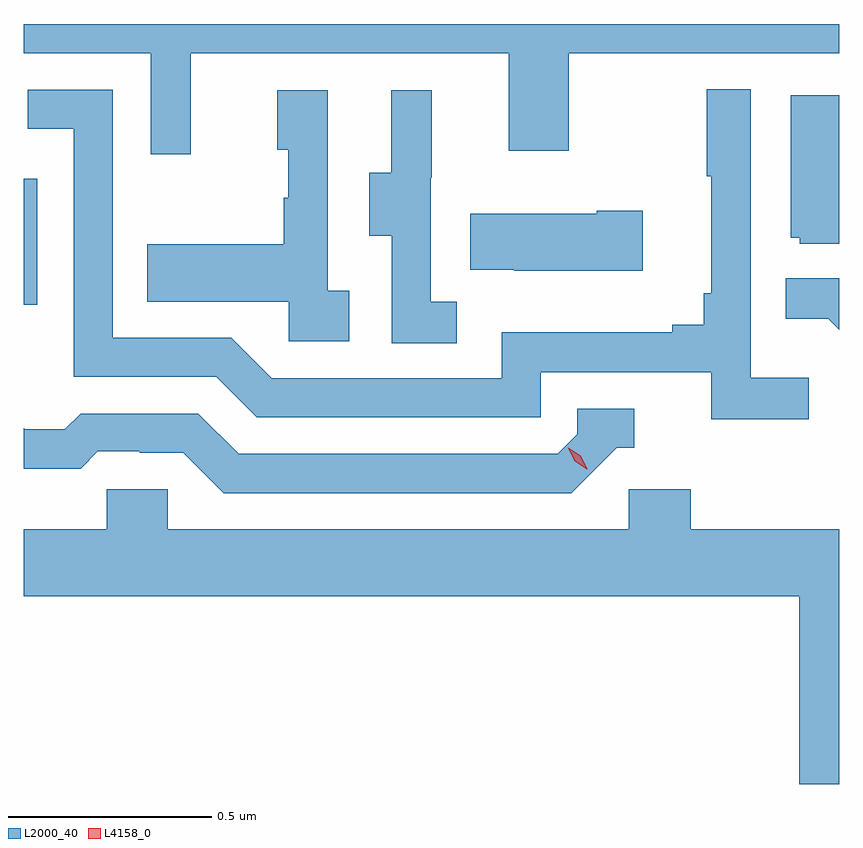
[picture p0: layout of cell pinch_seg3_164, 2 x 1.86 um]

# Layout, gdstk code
import gdstk
lib = gdstk.Library(unit=1e-6, precision=1e-09)
def R(c, l, rs):  # rectangles x0, y0, x1, y1
    for r in rs: c.add(gdstk.rectangle(r[:2], r[2:], *l))
def P(c, l, *ps):  # polygons
    for p in ps: c.add(gdstk.Polygon(p, *l))
L2000_40 = (2000, 40)
L4158_0 = (4158, 0)

pinch_seg3_164 = lib.new_cell('pinch_seg3_164')
R(pinch_seg3_164, L2000_40, [(1108.96,717.615,1108.992,717.924)])
P(pinch_seg3_164, L2000_40, [(1109.369,718.232),(1110.149,718.232),(1110.149,717.993),(1110.297,717.993),(1110.297,718.232),(1110.96,718.232),(1110.96,718.304),(1108.96,718.304),(1108.96,718.232),(1109.271,718.232),(1109.271,717.984),(1109.369,717.984)],
  [(1110.886,717.436),(1110.744,717.436),(1110.744,718.144),(1110.636,718.144),(1110.636,717.931),(1110.647,717.931),(1110.647,717.643),(1110.628,717.643),(1110.628,717.566),(1110.551,717.566),(1110.551,717.547),(1110.132,717.547),(1110.132,717.435),(1109.568,717.435),(1109.469,717.534),(1109.178,717.534),(1109.178,718.143),(1108.969,718.143),(1108.969,718.047),(1109.082,718.047),(1109.082,717.438),(1109.432,717.438),(1109.531,717.339),(1110.228,717.339),(1110.228,717.45),(1110.647,717.45),(1110.647,717.334),(1110.886,717.334)],
  [(1109.758,717.65),(1109.706,717.65),(1109.706,718.141),(1109.582,718.141),(1109.582,717.996),(1109.608,717.996),(1109.608,717.878),(1109.598,717.878),(1109.598,717.763),(1109.263,717.763),(1109.263,717.623),(1109.61,717.623),(1109.61,717.525),(1109.758,717.525)],
  [(1110.022,717.623),(1109.958,717.623),(1109.958,717.927),(1109.96,717.927),(1109.96,718.141),(1109.861,718.141),(1109.861,717.939),(1109.807,717.939),(1109.807,717.784),(1109.862,717.784),(1109.862,717.52),(1110.022,717.52)],
  [(1110.96,718.129),(1110.842,718.129),(1110.842,717.78),(1110.864,717.78),(1110.864,717.765),(1110.96,717.765)],
  [(1110.478,717.846),(1110.365,717.846),(1110.365,717.838),(1110.055,717.838),(1110.055,717.701),(1110.163,717.701),(1110.163,717.698),(1110.478,717.698)],
  [(1110.96,717.68),(1110.829,717.68),(1110.829,717.581),(1110.933,717.581),(1110.96,717.554)],
  [(1110.414,717.264),(1110.457,717.264),(1110.457,717.36),(1110.318,717.36),(1110.318,717.297),(1110.27,717.249),(1109.487,717.249),(1109.388,717.348),(1109.099,717.348),(1109.06,717.309),(1108.961,717.309),(1108.961,717.312),(1108.96,717.312),(1108.96,717.213),(1109.099,717.213),(1109.141,717.255),(1109.244,717.255),(1109.244,717.252),(1109.351,717.252),(1109.45,717.153),(1110.303,717.153)],
  [(1110.96,717.064),(1110.596,717.064),(1110.596,717.162),(1110.444,717.162),(1110.444,717.064),(1109.313,717.064),(1109.313,717.162),(1109.163,717.162),(1109.163,717.064),(1108.96,717.064),(1108.96,716.9),(1110.863,716.9),(1110.863,716.439),(1110.96,716.439)])
P(pinch_seg3_164, L4158_0, [(1110.341,717.211),(1110.311,717.231),(1110.295,717.264),(1110.295,717.264),(1110.295,717.264),(1110.326,717.244),(1110.342,717.211),(1110.342,717.211)])

lib.write_gds('pinch_seg3_164.gds')
